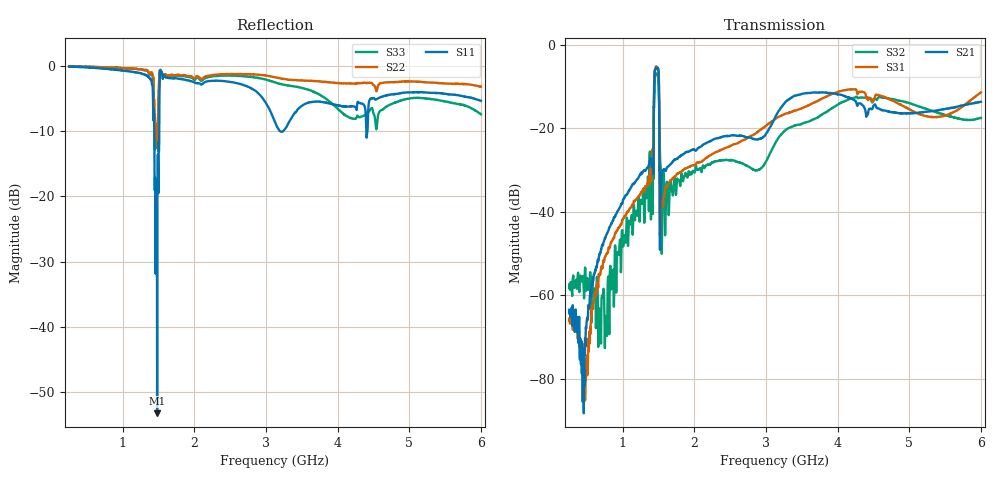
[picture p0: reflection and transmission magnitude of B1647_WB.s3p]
! Matrix data file written by TouchstoneData, EPCOS AG
! FILENAME: "B1647_WBx.s3p"
! COMMENT: "(B1647_WB.s3p) (B1647_WB.s3p)"
! INFO: nport=3, nfreq=1601
! DATE: "Thu Nov 13 10:09:01 2008"
! USER: "LeeChing Then"
! port | pin | signal
!  1  |  2  | in
!  2  |  4  | out1
!  3  |  6  | out2
# MHZ S RI R 50
! freq  reS11 imS11  reS12 imS12  reS13 imS13  ...
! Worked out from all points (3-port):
!   1601 points, 250 MHz to 6 GHz, reference 50 ohm
!   strongest paths, dB at 250 MHz, 1.688 GHz, 3.125 GHz, 4.562 GHz, 6 GHz:
!     S21: -63.5, -28.2, -17.5, -15.2, -13.7
!     S31: -66.0, -32.2, -17.9, -12.1, -11.4
!     S32: -58.2, -34.9, -23.7, -12.7, -17.5
!   lowest |S11| = -53.3 dB at 1.479 GHz (marker M1), VSWR 1.00, Z = 50 + j0.212 ohm
!   |S11| at or under -10 dB: 1.439 GHz to 1.509 GHz (69.45 MHz wide, 4.71 % of centre); 3.196 GHz to 3.237 GHz (41.61 MHz wide, 1.29 % of centre); 4.400283 GHz to 4.415565 GHz (15.28 MHz wide, 0.347 % of centre)
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250  0.9311 -0.3408  0.000132 0.000576  0.000135 0.000521
     0.000227 0.000629  0.9567 -0.2641  0.000325 0.0011
     0.000174 0.000467  0.00041 0.00116  0.9606 -0.2631
440.4688  0.7986 -0.5663  -6.96e-05 9.56e-05  2.14e-06 0.000302
          3.97e-05 3.5e-05  0.8792 -0.4505  0.000607 0.00152
          -2.01e-06 0.000161  0.000704 0.00152  0.8766 -0.4584
760.3125  0.4625 -0.8312  -0.0044 -0.00224  -0.00249 -0.00149
          -0.00433 -0.00237  0.6551 -0.7265  -0.000451 9.21e-06
          -0.00264 -0.00135  -0.000493 -0.000121  0.6426 -0.735
1378.438  -0.5822 -0.5565  -0.0337 0.0234  -0.0196 0.0138
          -0.0338 0.0234  -0.3802 -0.7945  -0.0415 0.0325
          -0.0198 0.0139  -0.0415 0.0323  -0.4434 -0.742
1479.062  -0.000443 0.00212  0.2748 -0.4444  -0.2183 0.4795
          0.2747 -0.4453  -0.2616 0.0375  -0.3573 0.2518
          -0.2178 0.4803  -0.3579 0.2517  -0.201 0.1218
1543.75  0.2829 -0.8537  -0.0264 -0.00827  -0.0121 -0.000441
         -0.0273 -0.00838  0.4001 -0.7938  -0.00318 -0.000714
         -0.0123 -0.000508  -0.00304 -0.000752  0.3892 -0.7923
2327.188  -0.6909 -0.3435  -0.0402 0.0645  -0.0233 0.0474
          -0.0402 0.0649  -0.61 -0.6073  -0.0265 0.0302
          -0.0233 0.0475  -0.0265 0.0301  -0.6794 -0.4925
3125  -0.3328 0.1638  -0.0889 0.0999  0.1279 -0.0104
      -0.0887 0.0993  -0.8173 0.0812  -0.0611 0.023
      0.1273 -0.0102  -0.0612 0.0231  -0.67 0.3295
5094.375  -0.4209 0.4667  0.1507 0.0175  0.0447 0.1461
          0.1506 0.0171  -0.1794 0.7361  0.1627 0.0894
          0.0442 0.1466  0.163 0.09  0.1286 0.5537
6000  -0.0989 0.532  0.1913 -0.0773  0.00784 0.2674
      0.1921 -0.0769  0.2956 0.629  0.1189 0.0605
      0.00727 0.268  0.1181 0.0604  0.412 -0.1122
